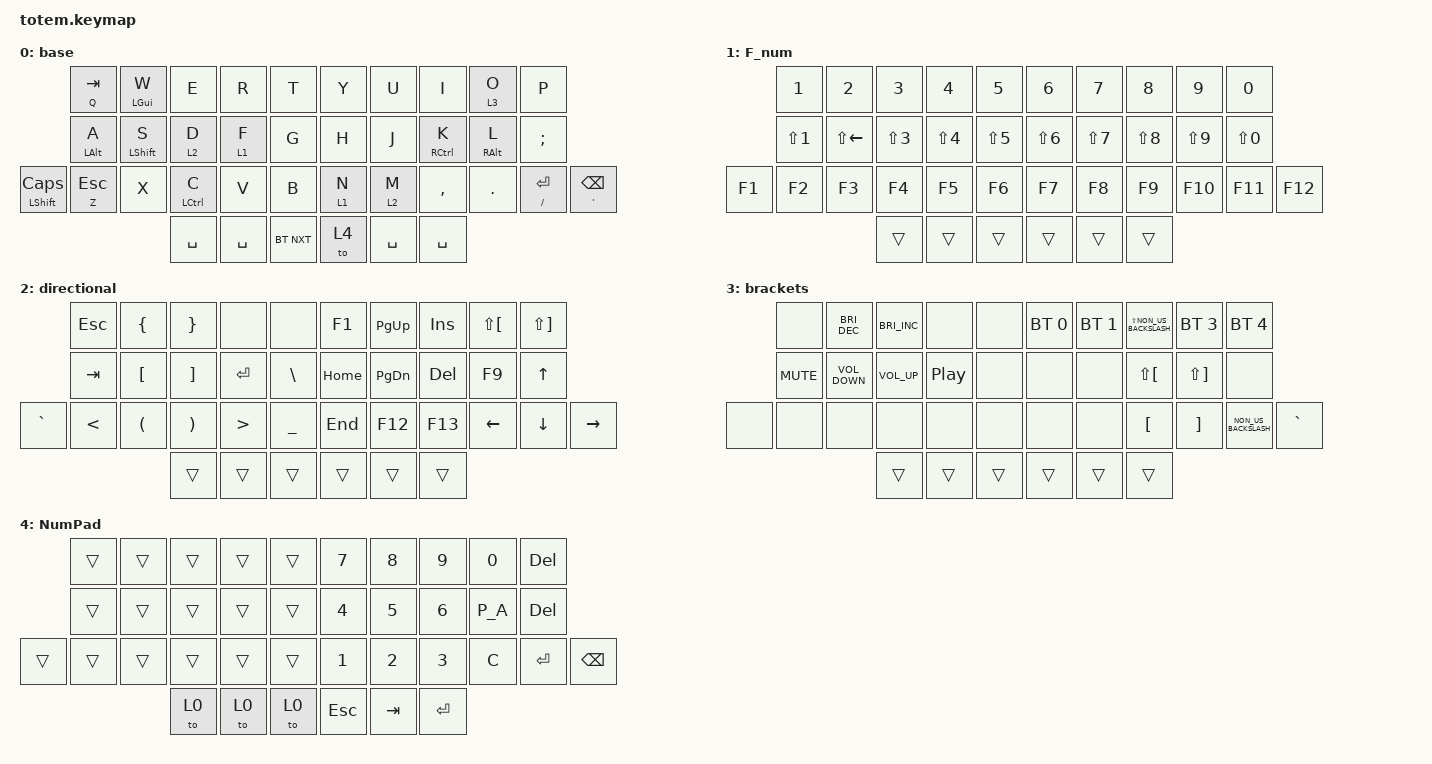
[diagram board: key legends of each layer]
//
//                                                        ▀▀▀▀▀     ▀▀▀▀▀          ▀▀█▀▀
//                                                        ▄▀▀▀▄  ▄  ▄▀▀▀▄  ▄  ▄▀▀▀▄  █  ▄▀▀▀▄
//                                                        █   █  █  █   █  █  █   █  █  █   █
//                                                         ▀▀▀   █   ▀▀▀   █   ▀▀▀   ▀   ▀▀▀
//                                                               █      ▄▄▄█▄▄▄    █   █  
//                                                               ▀      █  █  █     █▄█
//                                                             ▀▀▀▀▀    █  █  █      ▀
//                                                                      ▀  ▀  ▀
//
// ▄▄▄▄▄▄▄▄▄▄▄▄▄▄▄▄▄▄▄▄▄▄▄▄▄▄▄▄▄▄▄▄▄▄▄▄▄▄▄▄▄▄▄▄▄▄▄▄▄▄▄▄▄▄▄▄▄▄▄▄▄▄▄▄▄▄▄▄▄▄▄▄▄▄▄▄▄▄▄▄▄▄▄▄▄▄▄▄▄▄▄▄▄▄▄▄▄▄▄▄▄▄▄▄▄▄▄▄▄▄▄▄▄▄▄▄▄▄▄▄▄▄▄▄▄▄▄▄▄▄▄▄▄▄▄▄▄▄▄▄▄▄▄▄▄▄▄▄▄

#include <behaviors.dtsi>
#include <dt-bindings/zmk/bt.h>
#include <dt-bindings/zmk/keys.h>

/ {
    behaviors {
        P_A: P_A {
            compatible = "zmk,behavior-tap-dance";
            label = "P_A";
            #binding-cells = <0>;
            bindings = <&kp P>, <&kp A>;

            tapping-term-ms = <160>;
        };
    };

    keymap {
        compatible = "zmk,keymap";

        base {
            bindings = <
                         &mt Q TAB       &mt LEFT_GUI W    &kp E               &kp R      &kp T         &kp Y    &kp U      &kp I                &lt 3 O          &kp P
                         &mt LEFT_ALT A  &mt LEFT_SHIFT S  &lt 2 D             &lt 1 F    &kp G         &kp H    &kp J      &mt RIGHT_CONTROL K  &mt RIGHT_ALT L  &kp SEMICOLON
&mt LEFT_SHIFT CAPSLOCK  &mt Z ESCAPE    &kp X             &mt LEFT_CONTROL C  &kp V      &kp B         &lt 1 N  &lt 2 M    &kp COMMA            &kp PERIOD       &mt SLASH RET  &mt APOS BACKSPACE
                                                           &kp SPACE           &kp SPACE  &bt BT_NXT    &to 4    &kp SPACE  &kp SPACE
            >;
        };

        F_num {
            bindings = <
        &kp NUMBER_1      &kp NUMBER_2  &kp NUMBER_3      &kp NUMBER_4      &kp N5        &kp NUMBER_6      &kp N7      &kp N8      &kp N9      &kp N0
        &kp LS(NUMBER_1)  &kp LS(LEFT)  &kp LS(NUMBER_3)  &kp LS(NUMBER_4)  &kp LS(N5)    &kp LS(NUMBER_6)  &kp LS(N7)  &kp LS(N8)  &kp LS(N9)  &kp LS(N0)
&kp F1  &kp F2            &kp F3        &kp F4            &kp F5            &kp F6        &kp F7            &kp F8      &kp F9      &kp F10     &kp F11     &kp F12
                                        &trans            &trans            &trans        &trans            &trans      &trans
            >;
        };

        directional {
            bindings = <
           &kp ESC        &kp LEFT_BRACE        &kp RIGHT_BRACE        &none             &none             &kp F1    &kp PAGE_UP    &kp INS     &kp LS(LEFT_BRACKET)  &kp LS(RIGHT_BRACKET)
           &kp TAB        &kp LBKT              &kp RBKT               &kp ENTER         &kp BSLH          &kp HOME  &kp PAGE_DOWN  &kp DELETE  &kp F9                &kp UP_ARROW
&kp GRAVE  &kp LESS_THAN  &kp LEFT_PARENTHESIS  &kp RIGHT_PARENTHESIS  &kp GREATER_THAN  &kp UNDERSCORE    &kp END   &kp F12        &kp F13     &kp LEFT_ARROW        &kp DOWN               &kp RIGHT_ARROW
                                                &trans                 &trans            &trans            &trans    &trans         &trans
            >;
        };

        bracketts {
            bindings = <
       &none       &kp C_BRIGHTNESS_DEC  &kp C_BRIGHTNESS_INC  &none             &none     &bt BT_SEL 0  &bt BT_SEL 1  &kp LS(NON_US_BACKSLASH)  &bt BT_SEL 3           &bt BT_SEL 4
       &kp K_MUTE  &kp C_VOLUME_DOWN     &kp C_VOLUME_UP       &kp C_PLAY_PAUSE  &none     &none         &none         &kp LS(LEFT_BRACKET)      &kp LS(RIGHT_BRACKET)  &none
&none  &none       &none                 &none                 &none             &none     &none         &none         &kp LEFT_BRACKET          &kp RIGHT_BRACKET      &kp NON_US_BACKSLASH  &kp GRAVE
                                         &trans                &trans            &trans    &trans        &trans        &trans
            >;

            label = "brackets";
        };

        NumPad {
            bindings = <
        &trans  &trans  &trans  &trans  &trans    &kp N7   &kp N8   &kp N9     &kp N0  &kp DEL
        &trans  &trans  &trans  &trans  &trans    &kp N4   &kp N5   &kp N6     &P_A    &kp DEL
&trans  &trans  &trans  &trans  &trans  &trans    &kp N1   &kp N2   &kp N3     &kp C   &kp RET  &kp BACKSPACE
                        &to 0   &to 0   &to 0     &kp ESC  &kp TAB  &kp ENTER
            >;
        };
    };

    conditional_layers {
        compatible = "zmk,conditional-layers";

        device {
            if-layers = <1 2>;
            then-layer = <3>;
        };
    };
};
